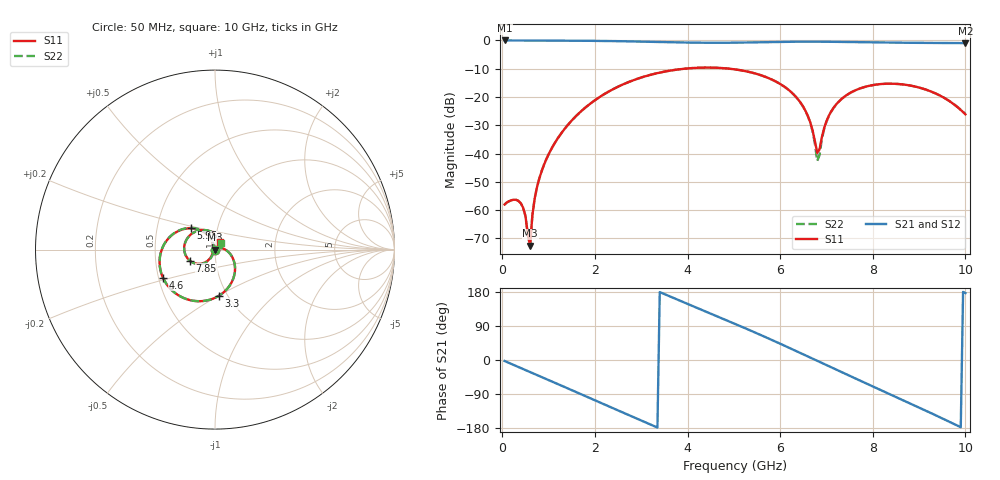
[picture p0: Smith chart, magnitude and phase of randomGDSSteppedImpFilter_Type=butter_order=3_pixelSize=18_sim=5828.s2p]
! freq	dB(S11)	phase(S11)	dB(S12)	phase(S12)
!  dB(S21)	phase(S21)	dB(S22)	phase(S22)
!S-par simulation data
#  GHz  S  DB  R 50
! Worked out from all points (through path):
!   200 points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, 50 MHz to 10 GHz, reference 50 ohm
!   highest |S21| = -0.01 dB at 50 MHz (marker M1); lowest = -1.0 dB at 10 GHz (marker M2)
!   group delay of S21, straight-line fit = 150 ps
!   lowest |S11| = -72.5 dB at 600 MHz (marker M3), VSWR 1.00, Z = 50 - j0.00089 ohm
!   |S11| at or under -10 dB: start of sweep to 3.936 GHz; 4.907 GHz to end of sweep
!   |S22| runs from -72.7 to -9.6 dB; largest |S21 - S12| = 0
!   S11 on the Smith chart (normalised r, x): 50 MHz: 1.00, -0.00; 3.3 GHz: 0.91, -0.50; 4.6 GHz: 0.53, -0.18; 5.95 GHz: 0.74, +0.18; 7.85 GHz: 0.75, -0.10; 10 GHz: 1.06, +0.08
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0.05  -57.98 -35.7  -0.01 -2.7  -0.01 -2.7  -57.99 -35.7
0.4  -57.53 -90.3  -0.03 -21.2  -0.03 -21.2  -57.58 -90.8
0.5  -61.99 -99.5  -0.04 -26.5  -0.04 -26.5  -62.07 -100.9
0.6  -72.52 -2.2  -0.04 -31.8  -0.04 -31.8  -72.73 -5.9
0.7  -55.81 58.3  -0.05 -37.1  -0.05 -37.1  -55.77 59.6
0.9  -43.98 46.1  -0.06 -47.6  -0.06 -47.6  -43.97 46.6
1.75  -24.34 -2.0  -0.12 -92.9  -0.12 -92.9  -24.34 -1.9
2.6  -15.59 -48.2  -0.29 -138.4  -0.29 -138.4  -15.59 -48.2
3.3  -11.74 -85.4  -0.53 -175.6  -0.53 -175.6  -11.74 -85.5
3.4  -11.37 -90.6  -0.57 179.2  -0.57 179.2  -11.37 -90.7
4.6  -9.65 -151.8  -0.84 117.3  -0.84 117.3  -9.65 -152.1
5.05  -10.29 -174.7  -0.79 94.1  -0.79 94.1  -10.29 -175.0
5.95  -14.91 138.6  -0.54 45.8  -0.54 45.8  -14.91 137.7
6.45  -22.21 114.6  -0.44 17.7  -0.44 17.7  -22.25 112.2
6.7  -31.77 115.4  -0.44 3.5  -0.44 3.5  -32.12 108.3
6.8  -39.72 159.0  -0.44 -2.1  -0.44 -2.1  -42.61 151.1
6.95  -30.99 -121.2  -0.46 -10.7  -0.46 -10.7  -31.30 -114.9
7.15  -23.89 -121.2  -0.49 -22.0  -0.49 -22.0  -23.95 -118.5
7.85  -16.33 -156.0  -0.67 -61.3  -0.67 -61.3  -16.35 -155.2
8.35  -15.29 175.8  -0.78 -89.0  -0.78 -89.0  -15.30 176.3
9.3  -18.33 116.7  -0.87 -142.5  -0.87 -142.5  -18.33 116.4
10  -26.12 53.4  -0.96 176.7  -0.96 176.7  -25.99 51.7
